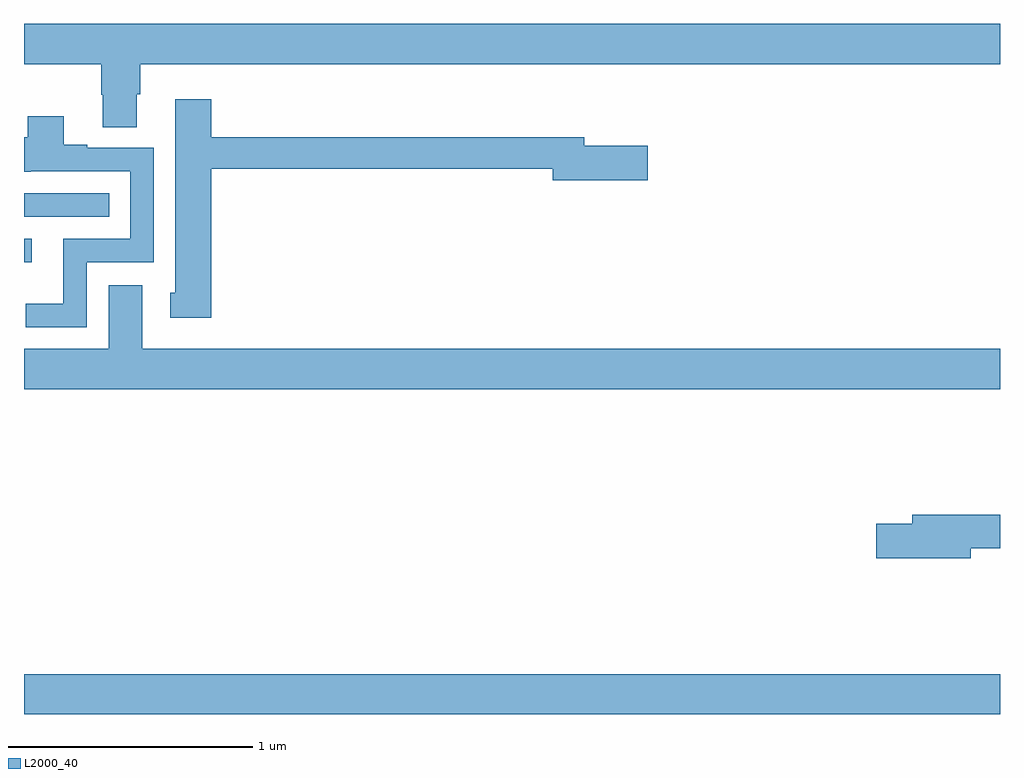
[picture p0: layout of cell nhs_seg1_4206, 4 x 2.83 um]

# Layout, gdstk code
import gdstk
lib = gdstk.Library(unit=1e-6, precision=1e-09)
def R(c, l, rs):  # rectangles x0, y0, x1, y1
    for r in rs: c.add(gdstk.rectangle(r[:2], r[2:], *l))
def P(c, l, *ps):  # polygons
    for p in ps: c.add(gdstk.Polygon(p, *l))
L2000_40 = (2000, 40)

nhs_seg1_4206 = lib.new_cell('nhs_seg1_4206')
R(nhs_seg1_4206, L2000_40, [(339,578.372,343,578.536), (339,580.223,339.031,580.32), (339,580.41,339.35,580.506)])
P(nhs_seg1_4206, L2000_40, [(339.463,580.913),(339.476,580.913),(339.476,581.036),(343,581.036),(343,581.2),(339,581.2),(339,581.036),(339.316,581.036),(339.316,580.909),(339.323,580.909),(339.323,580.777),(339.463,580.777)],
  [(339.767,580.606),(341.168,580.606),(341.168,580.559),(341.557,580.559),(341.557,580.701),(341.296,580.701),(341.296,580.735),(339.767,580.735),(339.767,580.891),(339.62,580.891),(339.62,580.098),(339.599,580.098),(339.599,579.996),(339.767,579.996)],
  [(339.258,580.224),(339.531,580.224),(339.531,580.692),(339.259,580.692),(339.259,580.705),(339.163,580.705),(339.163,580.822),(339.016,580.822),(339.016,580.735),(339,580.735),(339,580.595),(339.027,580.595),(339.027,580.596),(339.435,580.596),(339.435,580.32),(339.16,580.32),(339.16,580.054),(339.007,580.054),(339.007,579.957),(339.258,579.957)],
  [(343,579.868),(339.484,579.868),(339.484,580.129),(339.347,580.129),(339.347,579.868),(339,579.868),(339,579.704),(343,579.704)],
  [(342.88,579.052),(343,579.052),(343,579.188),(342.641,579.188),(342.641,579.152),(342.492,579.152),(342.492,579.01),(342.88,579.01)])

lib.write_gds('nhs_seg1_4206.gds')
